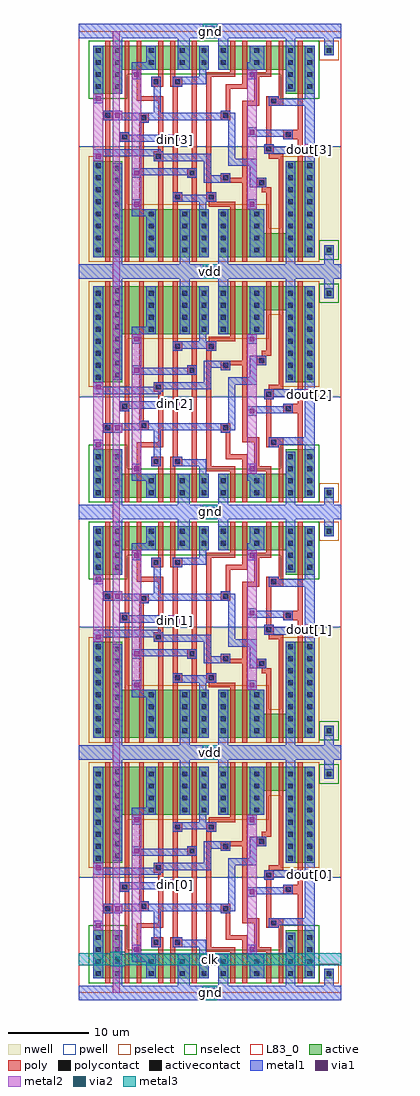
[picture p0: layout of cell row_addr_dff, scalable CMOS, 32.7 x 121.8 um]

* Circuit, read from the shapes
.subckt row_addr_dff clk din[0] din[1] din[2] din[3] dout[0] dout[1] dout[2] dout[3] gnd vdd
M1 gnd clk n1 gnd nfet w=6u l=0.6u
M2 gnd clk n2 gnd nfet w=6u l=0.6u
M3 gnd clk n3 gnd nfet w=6u l=0.6u
M4 gnd clk n4 gnd nfet w=6u l=0.6u
M5 n5 din[0] gnd gnd nfet w=3u l=0.6u
M6 n6 din[1] gnd gnd nfet w=3u l=0.6u
M7 n7 din[2] gnd gnd nfet w=3u l=0.6u
M8 n8 din[3] gnd gnd nfet w=3u l=0.6u
M9 n9 n1 n5 gnd nfet w=3u l=0.6u
M10 n10 n2 n6 gnd nfet w=3u l=0.6u
M11 n11 n3 n7 gnd nfet w=3u l=0.6u
M12 n12 n4 n8 gnd nfet w=3u l=0.6u
M13 n13 clk n9 gnd nfet w=3u l=0.6u
M14 n14 clk n10 gnd nfet w=3u l=0.6u
M15 n15 clk n11 gnd nfet w=3u l=0.6u
M16 n16 clk n12 gnd nfet w=3u l=0.6u
M17 gnd n17 n13 gnd nfet w=3u l=0.6u
M18 gnd n18 n14 gnd nfet w=3u l=0.6u
M19 gnd n19 n15 gnd nfet w=3u l=0.6u
M20 gnd n20 n16 gnd nfet w=3u l=0.6u
M21 n17 n9 gnd gnd nfet w=3u l=0.6u
M22 n18 n10 gnd gnd nfet w=3u l=0.6u
M23 n19 n11 gnd gnd nfet w=3u l=0.6u
M24 n20 n12 gnd gnd nfet w=3u l=0.6u
M25 n21 n17 gnd gnd nfet w=3u l=0.6u
M26 n22 n18 gnd gnd nfet w=3u l=0.6u
M27 n23 n19 gnd gnd nfet w=3u l=0.6u
M28 n24 n20 gnd gnd nfet w=3u l=0.6u
M29 n25 clk n21 gnd nfet w=3u l=0.6u
M30 n26 clk n22 gnd nfet w=3u l=0.6u
M31 n27 clk n23 gnd nfet w=3u l=0.6u
M32 n28 clk n24 gnd nfet w=3u l=0.6u
M33 n29 n1 n25 gnd nfet w=3u l=0.6u
M34 n30 n2 n26 gnd nfet w=3u l=0.6u
M35 n31 n3 n27 gnd nfet w=3u l=0.6u
M36 n32 n4 n28 gnd nfet w=3u l=0.6u
M37 gnd dout[0] n29 gnd nfet w=3u l=0.6u
M38 gnd dout[1] n30 gnd nfet w=3u l=0.6u
M39 gnd dout[2] n31 gnd nfet w=3u l=0.6u
M40 gnd dout[3] n32 gnd nfet w=3u l=0.6u
M41 dout[0] n25 gnd gnd nfet w=6u l=0.6u
M42 dout[1] n26 gnd gnd nfet w=6u l=0.6u
M43 dout[2] n27 gnd gnd nfet w=6u l=0.6u
M44 dout[3] n28 gnd gnd nfet w=6u l=0.6u
M45 vdd clk n1 vdd pfet w=12u l=0.6u
M46 vdd clk n2 vdd pfet w=12u l=0.6u
M47 vdd clk n3 vdd pfet w=12u l=0.6u
M48 vdd clk n4 vdd pfet w=12u l=0.6u
M49 n33 din[0] vdd vdd pfet w=6u l=0.6u
M50 n34 din[1] vdd vdd pfet w=6u l=0.6u
M51 n35 din[2] vdd vdd pfet w=6u l=0.6u
M52 n36 din[3] vdd vdd pfet w=6u l=0.6u
M53 n9 clk n33 vdd pfet w=6u l=0.6u
M54 n10 clk n34 vdd pfet w=6u l=0.6u
M55 n11 clk n35 vdd pfet w=6u l=0.6u
M56 n12 clk n36 vdd pfet w=6u l=0.6u
M57 n37 n1 n9 vdd pfet w=6u l=0.6u
M58 n38 n2 n10 vdd pfet w=6u l=0.6u
M59 n39 n3 n11 vdd pfet w=6u l=0.6u
M60 n40 n4 n12 vdd pfet w=6u l=0.6u
M61 vdd n17 n37 vdd pfet w=6u l=0.6u
M62 vdd n18 n38 vdd pfet w=6u l=0.6u
M63 vdd n19 n39 vdd pfet w=6u l=0.6u
M64 vdd n20 n40 vdd pfet w=6u l=0.6u
M65 n17 n9 vdd vdd pfet w=6u l=0.6u
M66 n18 n10 vdd vdd pfet w=6u l=0.6u
M67 n19 n11 vdd vdd pfet w=6u l=0.6u
M68 n20 n12 vdd vdd pfet w=6u l=0.6u
M69 n41 n17 vdd vdd pfet w=6u l=0.6u
M70 n42 n18 vdd vdd pfet w=6u l=0.6u
M71 n43 n19 vdd vdd pfet w=6u l=0.6u
M72 n44 n20 vdd vdd pfet w=6u l=0.6u
M73 n25 n1 n41 vdd pfet w=6u l=0.6u
M74 n26 n2 n42 vdd pfet w=6u l=0.6u
M75 n27 n3 n43 vdd pfet w=6u l=0.6u
M76 n28 n4 n44 vdd pfet w=6u l=0.6u
M77 n45 clk n25 vdd pfet w=3u l=0.6u
M78 n46 clk n26 vdd pfet w=3u l=0.6u
M79 n47 clk n27 vdd pfet w=3u l=0.6u
M80 n48 clk n28 vdd pfet w=3u l=0.6u
M81 vdd dout[0] n45 vdd pfet w=3u l=0.6u
M82 vdd dout[1] n46 vdd pfet w=3u l=0.6u
M83 vdd dout[2] n47 vdd pfet w=3u l=0.6u
M84 vdd dout[3] n48 vdd pfet w=3u l=0.6u
M85 dout[0] n25 vdd vdd pfet w=12u l=0.6u
M86 dout[1] n26 vdd vdd pfet w=12u l=0.6u
M87 dout[2] n27 vdd vdd pfet w=12u l=0.6u
M88 dout[3] n28 vdd vdd pfet w=12u l=0.6u
.ends

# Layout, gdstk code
from math import pi, radians
import gdstk
lib = gdstk.Library(unit=1e-6, precision=1e-09)
def R(c, l, rs):  # rectangles x0, y0, x1, y1
    for r in rs: c.add(gdstk.rectangle(r[:2], r[2:], *l))
def A(c, l, x, y, w, h, nx, ny, dx, dy):  # array of equal rectangles
    R(c, l, [(x+i*dx, y+j*dy, x+i*dx+w, y+j*dy+h) for i in range(nx) for j in range(ny)])
pwell = (41, 0)
nwell = (42, 0)
active = (43, 0)
pselect = (44, 0)
nselect = (45, 0)
poly = (46, 0)
polycontact = (47, 0)
activecontact = (48, 0)
metal1 = (49, 0)
via1 = (50, 0)
metal2 = (51, 0)
via2 = (61, 0)
metal3 = (62, 0)
L83_0 = (83, 0)

dff = lib.new_cell('dff')
R(dff, pwell, [(0,-0.9,32.7,14.4)])
R(dff, nwell, [(0,14.4,32.7,30.9)])
R(dff, active, [(1.8,1.8,16.2,4.8), (17.4,1.8,29.4,4.8), (30.6,1.8,31.8,3), (1.8,4.8,5.4,7.8), (25.8,4.8,29.4,7.8), (1.8,16.2,5.4,22.2), (25.8,16.2,29.4,25.2), (1.8,22.2,16.2,28.2), (17.4,22.2,23.1,25.2), (17.4,25.2,29.4,28.2), (30.6,26.7,31.8,27.9)])
R(dff, pselect, [(30,1.2,32.4,3.6), (1.2,15.6,6,21.6), (25.2,15.6,30,24.6), (1.2,21.6,23.7,24.6), (1.2,24.6,30,28.8)])
R(dff, nselect, [(1.2,1.2,30,5.4), (1.2,5.4,6,8.4), (25.2,5.4,30,8.4), (30,26.1,32.4,28.5)])
R(dff, poly, [(3.3,1.2,3.9,9.9), (5.7,1.2,6.3,12.6), (7.2,1.2,7.8,8.1), (9.9,1.2,10.5,5.7), (11.4,1.2,12,5.7), (14.1,1.2,14.7,17.1), (18.9,1.2,19.5,5.1), (20.4,1.2,21,6.6), (23.4,1.2,24,5.1), (24.9,1.2,25.5,8.1), (27.3,1.2,27.9,12.3), (15.9,5.1,19.5,5.7), (21.9,5.1,24,5.7), (9,5.7,10.5,6.9), (11.4,5.7,12.9,6.9), (15.9,5.7,16.5,20.1), (21.9,5.7,22.5,8.7), (18.3,6.6,21,7.2), (11.7,6.9,12.3,20.1), (18.3,7.2,18.9,9.9), (7.2,8.1,10.5,8.7), (23.4,8.1,25.5,9.3), (9.9,8.7,10.5,15), (20.4,8.7,22.5,9.3), (20.4,9.3,21,18.3), (23.4,9.3,24,14.1), (3,9.9,4.2,11.1), (17.7,9.9,18.9,11.1), (7.5,10.2,8.7,11.4), (3.3,11.1,3.9,28.8), (7.5,11.4,8.1,28.8), (25.5,12.3,27.9,13.5), (5.1,12.6,6.3,13.8), (27.3,13.5,27.9,28.8), (5.7,13.8,6.3,28.8), (23.1,14.1,24.3,15.3), (9.3,15,10.5,16.2), (23.7,15.3,25.5,15.9), (24.9,15.9,25.5,28.8), (9.9,16.2,10.5,28.8), (13.5,17.1,14.7,18.3), (17.7,17.7,18.9,18.3), (14.1,18.3,14.7,28.8), (17.7,18.3,21,18.9), (22.2,18.3,23.4,19.5), (20.4,18.9,21,28.8), (22.8,19.5,24,20.1), (11.7,20.1,12.9,21.3), (15.9,20.1,17.1,21.3), (23.4,20.1,24,28.8), (11.7,21.3,12.3,28.8), (16.2,21.3,19.5,21.9), (18.9,21.9,19.5,28.8)])
R(dff, polycontact, [(9.3,6,9.9,6.6), (12,6,12.6,6.6), (24,8.4,24.6,9), (3.3,10.2,3.9,10.8), (18,10.2,18.6,10.8), (7.8,10.5,8.4,11.1), (25.8,12.6,26.4,13.2), (5.4,12.9,6,13.5), (23.4,14.4,24,15), (9.6,15.3,10.2,15.9), (13.8,17.4,14.4,18), (18,18,18.6,18.6), (22.5,18.6,23.1,19.2), (12,20.4,12.6,21), (16.2,20.4,16.8,21)])
A(dff, activecontact, 2.1, 2.1, 0.6, 0.6, 1, 4, 0, 1.5)
A(dff, activecontact, 4.5, 2.1, 0.6, 0.6, 1, 4, 0, 1.5)
A(dff, activecontact, 17.7, 2.1, 0.6, 0.6, 3, 2, 4.2, 1.5)
A(dff, activecontact, 28.5, 2.1, 0.6, 0.6, 1, 4, 0, 1.5)
A(dff, activecontact, 2.1, 16.5, 0.6, 0.6, 1, 8, 0, 1.5)
A(dff, activecontact, 26.1, 16.5, 0.6, 0.6, 1, 7, 0, 1.5)
A(dff, activecontact, 28.5, 16.5, 0.6, 0.6, 1, 7, 0, 1.5)
A(dff, activecontact, 4.5, 16.8, 0.6, 0.6, 1, 8, 0, 1.5)
A(dff, activecontact, 8.7, 22.5, 0.6, 0.6, 1, 4, 0, 1.5)
A(dff, activecontact, 12.9, 22.5, 0.6, 0.6, 3, 4, 2.4, 1.5)
A(dff, activecontact, 21.9, 22.5, 0.6, 0.6, 1, 4, 0, 1.5)
A(dff, activecontact, 26.1, 27, 0.6, 0.6, 3, 1, 2.4, 0)
R(dff, activecontact, [(8.7,2.1,9.3,2.7), (12.6,2.1,13.2,2.7), (15.3,2.1,15.9,2.7), (30.9,2.1,31.5,2.7), (8.7,3.6,9.3,4.2), (12.6,3.6,13.2,4.2), (15.3,3.6,15.9,4.2), (26.1,5.1,26.7,5.7), (26.1,6.6,26.7,7.2)])
R(dff, metal1, [(0,-0.9,32.7,0.9), (0,-0.9,32.7,0.9), (4.2,0.9,5.4,7.8), (12.3,0.9,13.8,4.8), (17.4,0.9,18.6,4.8), (25.8,0.9,27,7.5), (30.6,0.9,31.8,3), (1.8,1.8,3,9), (8.4,1.8,9.6,3.9), (15,1.8,16.2,4.8), (21.3,1.8,23.1,3.9), (28.2,1.8,29.4,8.4), (6.6,3.9,9.6,4.8), (21,3.9,23.1,4.8), (6.6,4.8,7.8,6), (15,4.8,15.9,5.7), (21,4.8,22.2,6), (9,5.7,10.2,6.9), (11.7,5.7,15.9,6.6), (11.7,6.6,12.9,6.9), (9.3,6.9,10.2,10.2), (23.7,8.1,24.9,8.4), (23.7,8.4,29.4,9.3), (28.2,9.3,29.4,14.4), (3,9.9,5.4,10.2), (17.7,9.9,18.9,10.2), (3,10.2,19.5,11.1), (7.5,11.1,8.7,11.4), (18.6,11.1,19.5,15.9), (21,12,22.2,12.3), (21,12.3,26.7,13.2), (5.1,12.6,6.3,12.9), (5.1,12.9,12.6,13.8), (25.5,13.2,26.7,13.5), (11.4,13.8,12.6,14.1), (23.1,14.1,24.3,14.4), (23.1,14.4,29.4,15.3), (1.8,14.7,10.2,15), (1.8,15,10.5,15.3), (1.8,15.3,16.5,15.6), (28.2,15.3,29.4,28.2), (1.8,15.6,3,28.2), (9.3,15.6,16.5,16.2), (18.6,15.9,22.2,16.8), (15.6,16.2,16.5,18), (25.8,16.2,27,29.1), (4.2,16.5,5.4,29.1), (21.3,16.8,22.2,18.3), (6.6,17.1,14.7,18), (17.7,17.7,18.9,18), (6.6,18,7.8,18.3), (13.5,18,14.7,18.3), (15.6,18,18.9,18.9), (21.3,18.3,23.4,19.5), (11.7,20.1,12.9,20.4), (15.9,20.1,17.1,20.4), (11.7,20.4,17.1,21.3), (6.6,21,7.8,22.2), (21,21,22.2,22.2), (15,21.3,15.9,22.2), (6.6,22.2,9.6,23.1), (12.6,22.2,13.8,29.1), (15,22.2,16.2,28.2), (17.4,22.2,18.6,29.1), (21.3,22.2,23.1,28.2), (8.4,23.1,9.6,28.2), (30.6,26.7,31.8,29.1), (0,29.1,32.7,30.9), (0,29.1,32.7,30.9)])
R(dff, via1, [(6.9,5.1,7.5,5.7), (21.3,5.1,21.9,5.7), (2.1,8.1,2.7,8.7), (4.5,10.2,5.1,10.8), (21.3,12.3,21.9,12.9), (11.7,13.2,12.3,13.8), (28.5,14.4,29.1,15), (2.1,15.3,2.7,15.9), (6.9,17.4,7.5,18), (6.9,21.3,7.5,21.9), (21.3,21.3,21.9,21.9)])
R(dff, metal2, [(6.6,4.8,7.8,22.2), (21,4.8,22.2,22.2), (1.8,7.8,3,16.2), (4.2,9.9,5.4,11.1), (4.2,9.9,5.4,11.1), (11.4,12.9,12.6,14.1), (11.4,12.9,12.6,14.1), (28.2,14.1,29.4,15.3), (28.2,14.1,29.4,15.3)])
R(dff, L83_0, [(0,0,32.7,30)])
dff.add(gdstk.Label('clk', (4.5,10.2), layer=51, texttype=0))
dff.add(gdstk.Label('D', (12,13.5), layer=51, texttype=0))
dff.add(gdstk.Label('Q', (28.8,14.7), layer=51, texttype=0))
dff.add(gdstk.Label('vdd', (9.6,29.4), layer=49, texttype=0))
dff.add(gdstk.Label('gnd', (13.2,0.3), layer=49, texttype=0))
dff.add(gdstk.Label('D', (12,13.5), layer=51, texttype=0))
dff.add(gdstk.Label('Q', (28.8,14.7), layer=51, texttype=0))
dff.add(gdstk.Label('clk', (4.8,10.5), layer=51, texttype=0))
dff.add(gdstk.Label('vdd', (16.35,30), layer=49, texttype=0))
dff.add(gdstk.Label('gnd', (16.35,0), layer=49, texttype=0))

metal1_via1_metal2_1x1 = lib.new_cell('metal1_via1_metal2_1x1')
R(metal1_via1_metal2_1x1, metal1, [(0,0,1.2,1.2)])
R(metal1_via1_metal2_1x1, via1, [(0.3,0.3,0.9,0.9)])
R(metal1_via1_metal2_1x1, metal2, [(0,0,1.2,1.2)])

metal2_via2_metal3_1x1 = lib.new_cell('metal2_via2_metal3_1x1')
R(metal2_via2_metal3_1x1, metal2, [(0.3,0.3,1.5,1.5)])
R(metal2_via2_metal3_1x1, via2, [(0.6,0.6,1.2,1.2)])
R(metal2_via2_metal3_1x1, metal3, [(0,0,1.8,1.8)])

row_addr_dff = lib.new_cell('row_addr_dff')
R(row_addr_dff, metal2, [(4.2,0,5.1,120), (11.4,12.9,12.6,14.1), (28.2,14.1,29.4,15.3), (28.2,44.7,29.4,45.9), (11.4,45.9,12.6,47.1), (11.4,72.9,12.6,74.1), (28.2,74.1,29.4,75.3), (28.2,104.7,29.4,105.9), (11.4,105.9,12.6,107.1)])
A(row_addr_dff, metal3, 15.6, -0.75, 1.5, 1.5, 1, 5, 0, 30)
R(row_addr_dff, metal3, [(0,3.45,32.7,4.95)])
row_addr_dff.add(gdstk.Reference(dff, (0,0)))
row_addr_dff.add(gdstk.Reference(dff, (0,60), x_reflection=True))
row_addr_dff.add(gdstk.Reference(dff, (0,60)))
row_addr_dff.add(gdstk.Reference(dff, (0,120), x_reflection=True))
row_addr_dff.add(gdstk.Reference(metal1_via1_metal2_1x1, (16.95,29.4), rotation=pi/2))
row_addr_dff.add(gdstk.Reference(metal2_via2_metal3_1x1, (17.25,29.1), rotation=pi/2))
row_addr_dff.add(gdstk.Reference(metal1_via1_metal2_1x1, (16.95,-0.6), rotation=pi/2))
row_addr_dff.add(gdstk.Reference(metal2_via2_metal3_1x1, (17.25,-0.9), rotation=pi/2))
row_addr_dff.add(gdstk.Reference(metal1_via1_metal2_1x1, (16.95,29.4), rotation=pi/2))
row_addr_dff.add(gdstk.Reference(metal2_via2_metal3_1x1, (17.25,29.1), rotation=pi/2))
row_addr_dff.add(gdstk.Reference(metal1_via1_metal2_1x1, (16.95,59.4), rotation=pi/2))
row_addr_dff.add(gdstk.Reference(metal2_via2_metal3_1x1, (17.25,59.1), rotation=pi/2))
row_addr_dff.add(gdstk.Reference(metal1_via1_metal2_1x1, (16.95,89.4), rotation=pi/2))
row_addr_dff.add(gdstk.Reference(metal2_via2_metal3_1x1, (17.25,89.1), rotation=pi/2))
row_addr_dff.add(gdstk.Reference(metal1_via1_metal2_1x1, (16.95,59.4), rotation=pi/2))
row_addr_dff.add(gdstk.Reference(metal2_via2_metal3_1x1, (17.25,59.1), rotation=pi/2))
row_addr_dff.add(gdstk.Reference(metal1_via1_metal2_1x1, (16.95,89.4), rotation=pi/2))
row_addr_dff.add(gdstk.Reference(metal2_via2_metal3_1x1, (17.25,89.1), rotation=pi/2))
row_addr_dff.add(gdstk.Reference(metal1_via1_metal2_1x1, (16.95,119.4), rotation=pi/2))
row_addr_dff.add(gdstk.Reference(metal2_via2_metal3_1x1, (17.25,119.1), rotation=pi/2))
row_addr_dff.add(gdstk.Reference(metal2_via2_metal3_1x1, (3.9,3.3)))
row_addr_dff.add(gdstk.Label('vdd', (16.35,30), layer=62, texttype=0))
row_addr_dff.add(gdstk.Label('vdd', (16.35,90), layer=62, texttype=0))
row_addr_dff.add(gdstk.Label('gnd', (16.35,0), layer=62, texttype=0))
row_addr_dff.add(gdstk.Label('gnd', (16.35,60), layer=62, texttype=0))
row_addr_dff.add(gdstk.Label('gnd', (16.35,120), layer=62, texttype=0))
row_addr_dff.add(gdstk.Label('din[0]', (12,13.5), layer=51, texttype=0))
row_addr_dff.add(gdstk.Label('dout[0]', (28.8,14.7), layer=51, texttype=0))
row_addr_dff.add(gdstk.Label('din[1]', (12,46.5), layer=51, texttype=0))
row_addr_dff.add(gdstk.Label('dout[1]', (28.8,45.3), layer=51, texttype=0))
row_addr_dff.add(gdstk.Label('din[2]', (12,73.5), layer=51, texttype=0))
row_addr_dff.add(gdstk.Label('dout[2]', (28.8,74.7), layer=51, texttype=0))
row_addr_dff.add(gdstk.Label('din[3]', (12,106.5), layer=51, texttype=0))
row_addr_dff.add(gdstk.Label('dout[3]', (28.8,105.3), layer=51, texttype=0))
row_addr_dff.add(gdstk.Label('clk', (16.35,4.2), layer=62, texttype=0))

lib.write_gds('row_addr_dff.gds')
